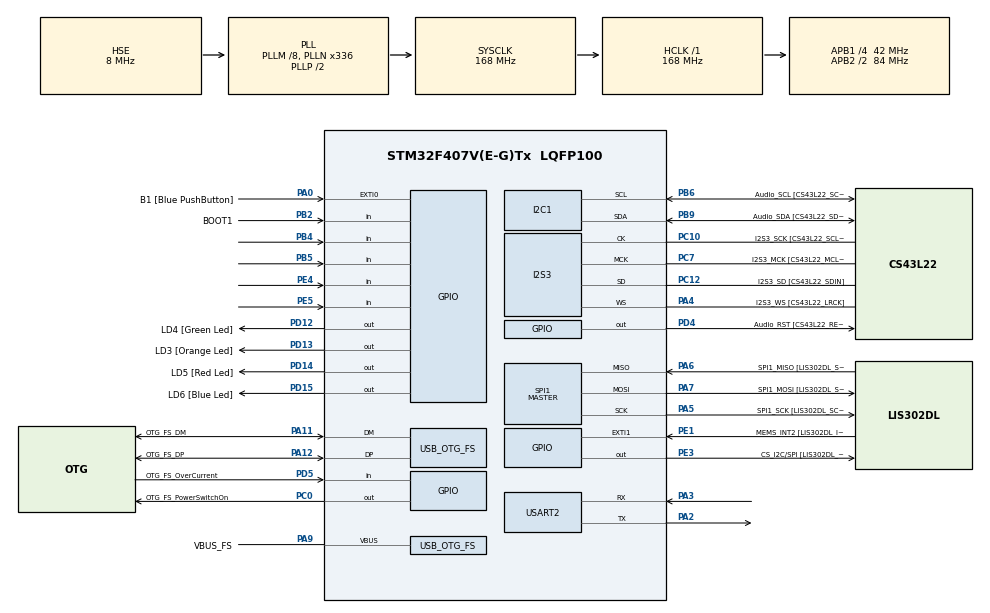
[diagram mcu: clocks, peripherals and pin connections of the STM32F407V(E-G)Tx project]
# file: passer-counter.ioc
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I2S3.AudioFreq-Half_Duplex_Master=I2S_AUDIOFREQ_96K
I2S3.ErrorAudioFreq=-2.34 %
I2S3.ErrorAudioFreq-Half_Duplex_Master=0.8 %
I2S3.FullDuplexMode=I2S_FULLDUPLEXMODE_DISABLE
I2S3.Instance=SPI$Index
I2S3.RealAudioFreq=93.75 KHz
I2S3.RealAudioFreq-Half_Duplex_Master=96.774 KHz
I2S3.VirtualMode=I2S_MODE_MASTER
Mcu.Family=STM32F4
Mcu.Name=STM32F407V(E-G)Tx
Mcu.Package=LQFP100
NVIC.OTG_FS_IRQn=true\:0\:0\:false\:false\:true\:true\:true
NVIC.PriorityGroup=NVIC_PRIORITYGROUP_4
PA0-WKUP.GPIO_Label=B1 [Blue PushButton]
PA0-WKUP.GPIO_ModeDefaultEXTI=GPIO_MODE_EVT_RISING
PA0-WKUP.GPIO_PuPd=GPIO_NOPULL
PA0-WKUP.Signal=GPXTI0
PA10.GPIO_Label=OTG_FS_ID
PA10.GPIO_Mode=GPIO_MODE_AF_PP
PA10.GPIO_PuPd=GPIO_NOPULL
PA10.GPIO_Speed=GPIO_SPEED_FREQ_LOW
PA10.Signal=USB_OTG_FS_ID
PA11.GPIO_Label=OTG_FS_DM
PA11.GPIO_Mode=GPIO_MODE_AF_PP
PA11.GPIO_PuPd=GPIO_NOPULL
PA11.GPIO_Speed=GPIO_SPEED_FREQ_LOW
PA11.Mode=Host_Only
PA11.Signal=USB_OTG_FS_DM
PA12.GPIO_Label=OTG_FS_DP
PA12.GPIO_Mode=GPIO_MODE_AF_PP
PA12.GPIO_PuPd=GPIO_NOPULL
PA12.GPIO_Speed=GPIO_SPEED_FREQ_LOW
PA12.Mode=Host_Only
PA12.Signal=USB_OTG_FS_DP
PA13.GPIO_Label=SWDIO
PA13.Mode=Serial_Wire
PA13.Signal=SYS_JTMS-SWDIO
PA14.GPIO_Label=SWCLK
PA14.Mode=Serial_Wire
PA14.Signal=SYS_JTCK-SWCLK
PA2.Mode=Asynchronous
PA2.Signal=USART2_TX
PA3.Mode=Asynchronous
PA3.Signal=USART2_RX
PA4.GPIO_Label=I2S3_WS [CS43L22_LRCK]
PA4.GPIO_Mode=GPIO_MODE_AF_PP
PA4.GPIO_PuPd=GPIO_NOPULL
PA4.GPIO_Speed=GPIO_SPEED_FREQ_LOW
PA4.Mode=Half_Duplex_Master
PA4.Signal=I2S3_WS
PA5.GPIO_Label=SPI1_SCK [LIS302DL_SCL/SPC]
PA5.GPIO_Mode=GPIO_MODE_AF_PP
PA5.GPIO_PuPd=GPIO_NOPULL
PA5.GPIO_Speed=GPIO_SPEED_FREQ_LOW
PA5.Mode=Full_Duplex_Master
PA5.Signal=SPI1_SCK
PA6.GPIO_Label=SPI1_MISO [LIS302DL_SDO]
PA6.GPIO_Mode=GPIO_MODE_AF_PP
PA6.GPIO_PuPd=GPIO_NOPULL
PA6.GPIO_Speed=GPIO_SPEED_FREQ_LOW
PA6.Mode=Full_Duplex_Master
PA6.Signal=SPI1_MISO
PA7.GPIO_Label=SPI1_MOSI [LIS302DL_SDA/SDI/SDO]
PA7.GPIO_Mode=GPIO_MODE_AF_PP
PA7.GPIO_PuPd=GPIO_NOPULL
PA7.GPIO_Speed=GPIO_SPEED_FREQ_LOW
PA7.Mode=Full_Duplex_Master
PA7.Signal=SPI1_MOSI
PA9.GPIO_Label=VBUS_FS
PA9.GPIO_Mode=GPIO_MODE_INPUT
PA9.GPIO_PuPd=GPIO_NOPULL
PA9.Mode=Activate_VBUS
PA9.Signal=USB_OTG_FS_VBUS
PB10.GPIO_Label=CLK_IN [MP45DT02_CLK]
PB10.GPIO_Mode=GPIO_MODE_AF_PP
PB10.GPIO_PuPd=GPIO_NOPULL
PB10.GPIO_Speed=GPIO_SPEED_FREQ_LOW
PB10.Signal=I2S2_CK
PB2.GPIO_Label=BOOT1
PB2.GPIO_Mode=GPIO_MODE_INPUT
PB2.GPIO_PuPd=GPIO_NOPULL
PB2.Signal=GPIO_Input
PB3.GPIO_Label=SWO
PB3.Signal=SYS_JTDO-SWO
PB4.Signal=GPIO_Input
PB5.Signal=GPIO_Input
PB6.GPIO_Label=Audio_SCL [CS43L22_SCL]
PB6.GPIO_Mode=GPIO_MODE_AF_OD
PB6.GPIO_PuPd=GPIO_NOPULL
PB6.GPIO_Speed=GPIO_SPEED_FREQ_LOW
PB6.Mode=I2C
PB6.Signal=I2C1_SCL
PB9.GPIO_Label=Audio_SDA [CS43L22_SDA]
PB9.GPIO_Mode=GPIO_MODE_AF_OD
PB9.GPIO_PuPd=GPIO_NOPULL
PB9.GPIO_Speed=GPIO_SPEED_FREQ_LOW
PB9.Mode=I2C
PB9.Signal=I2C1_SDA
PC0.GPIO_Label=OTG_FS_PowerSwitchOn
PC0.GPIO_PuPd=GPIO_NOPULL
PC0.GPIO_Speed=GPIO_SPEED_FREQ_LOW
PC0.PinState=GPIO_PIN_SET
PC0.Signal=GPIO_Output
PC10.GPIO_Label=I2S3_SCK [CS43L22_SCLK]
PC10.GPIO_Mode=GPIO_MODE_AF_PP
PC10.GPIO_PuPd=GPIO_NOPULL
PC10.GPIO_Speed=GPIO_SPEED_FREQ_LOW
PC10.Mode=Half_Duplex_Master
PC10.Signal=I2S3_CK
PC12.GPIO_Label=I2S3_SD [CS43L22_SDIN]
PC12.GPIO_Mode=GPIO_MODE_AF_PP
PC12.GPIO_PuPd=GPIO_NOPULL
PC12.GPIO_Speed=GPIO_SPEED_FREQ_LOW
PC12.Mode=Half_Duplex_Master
PC12.Signal=I2S3_SD
PC14-OSC32_IN.GPIO_Label=PC14-OSC32_IN
PC14-OSC32_IN.Mode=LSE-External-Oscillator
PC14-OSC32_IN.Signal=RCC_OSC32_IN
PC15-OSC32_OUT.GPIO_Label=PC15-OSC32_OUT
PC15-OSC32_OUT.Mode=LSE-External-Oscillator
PC15-OSC32_OUT.Signal=RCC_OSC32_OUT
PC3.GPIO_Label=PDM_OUT [MP45DT02_DOUT]
PC3.GPIO_Mode=GPIO_MODE_AF_PP
PC3.GPIO_PuPd=GPIO_NOPULL
PC3.GPIO_Speed=GPIO_SPEED_FREQ_LOW
PC3.Signal=I2S2_SD
PC7.GPIO_Label=I2S3_MCK [CS43L22_MCLK]
PC7.GPIO_Mode=GPIO_MODE_AF_PP
PC7.GPIO_PuPd=GPIO_NOPULL
PC7.GPIO_Speed=GPIO_SPEED_FREQ_LOW
PC7.Mode=Master_Clock_Activated
PC7.Signal=I2S3_MCK
PD12.GPIO_Label=LD4 [Green Led]
PD12.GPIO_PuPd=GPIO_NOPULL
PD12.GPIO_Speed=GPIO_SPEED_FREQ_LOW
PD12.Signal=GPIO_Output
PD13.GPIO_Label=LD3 [Orange Led]
PD13.GPIO_PuPd=GPIO_NOPULL
PD13.GPIO_Speed=GPIO_SPEED_FREQ_LOW
PD13.Signal=GPIO_Output
PD14.GPIO_Label=LD5 [Red Led]
PD14.GPIO_PuPd=GPIO_NOPULL
PD14.GPIO_Speed=GPIO_SPEED_FREQ_LOW
PD14.Signal=GPIO_Output
PD15.GPIO_Label=LD6 [Blue Led]
PD15.GPIO_PuPd=GPIO_NOPULL
PD15.GPIO_Speed=GPIO_SPEED_FREQ_LOW
PD15.Signal=GPIO_Output
PD4.GPIO_Label=Audio_RST [CS43L22_RESET]
PD4.GPIO_PuPd=GPIO_NOPULL
PD4.GPIO_Speed=GPIO_SPEED_FREQ_LOW
PD4.Signal=GPIO_Output
PD5.GPIO_Label=OTG_FS_OverCurrent
PD5.GPIO_Mode=GPIO_MODE_INPUT
PD5.GPIO_PuPd=GPIO_NOPULL
PD5.Signal=GPIO_Input
PE1.GPIO_Label=MEMS_INT2 [LIS302DL_INT2]
PE1.GPIO_ModeDefaultEXTI=GPIO_MODE_EVT_RISING
PE1.GPIO_PuPd=GPIO_NOPULL
PE1.Signal=GPXTI1
PE3.GPIO_Label=CS_I2C/SPI [LIS302DL_CS_I2C/SPI]
PE3.GPIO_PuPd=GPIO_NOPULL
PE3.GPIO_Speed=GPIO_SPEED_FREQ_LOW
PE3.Signal=GPIO_Output
PE4.GPIO_PuPd=GPIO_NOPULL
PE4.Signal=GPIO_Input
PE5.GPIO_PuPd=GPIO_NOPULL
PE5.Signal=GPIO_Input
PH0-OSC_IN.GPIO_Label=PH0-OSC_IN
PH0-OSC_IN.Mode=HSE-External-Oscillator
PH0-OSC_IN.Signal=RCC_OSC_IN
PH1-OSC_OUT.GPIO_Label=PH1-OSC_OUT
PH1-OSC_OUT.Mode=HSE-External-Oscillator
PH1-OSC_OUT.Signal=RCC_OSC_OUT
ProjectManager.HeapSize=0x200
ProjectManager.StackSize=0x400
ProjectManager.TargetToolchain=STM32CubeIDE
RCC.48MHZClocksFreq_Value=48000000
RCC.AHBFreq_Value=168000000
RCC.APB1CLKDivider=RCC_HCLK_DIV4
RCC.APB1Freq_Value=42000000
RCC.APB1TimFreq_Value=84000000
RCC.APB2CLKDivider=RCC_HCLK_DIV2
RCC.APB2Freq_Value=84000000
RCC.APB2TimFreq_Value=168000000
RCC.CortexFreq_Value=168000000
RCC.HCLKFreq_Value=168000000
RCC.HSE_VALUE=8000000
RCC.HSI_VALUE=16000000
RCC.PLLM=8
RCC.PLLN=336
RCC.PLLQ=7
RCC.SYSCLKFreq_VALUE=168000000
RCC.SYSCLKSource=RCC_SYSCLKSOURCE_PLLCLK
RCC.VCOOutputFreq_Value=336000000
SPI1.BaudRatePrescaler-Full_Duplex_Master=SPI_BAUDRATEPRESCALER_2
SPI1.CalculateBaudRate-Full_Duplex_Master=42.0 MBits/s
SPI1.Direction=SPI_DIRECTION_2LINES
SPI1.Mode=SPI_MODE_MASTER
SPI1.Mode-Full_Duplex_Master=SPI_MODE_MASTER
SPI1.VirtualType=VM_MASTER
USART2.VirtualMode=VM_ASYNC
USB_HOST.BSP.number=1
USB_HOST.USBH_HandleTypeDef-CDC_FS=hUsbHostFS
USB_HOST.USBH_USE_OS-CDC_FS=0
USB_HOST.VirtualModeFS=Cdc
USB_HOST0.BSP.STBoard=false
USB_HOST0.BSP.api=Unknown
USB_HOST0.BSP.i2caddr=0
USB_HOST0.BSP.i2creg=0
USB_HOST0.BSP.instance=PC0
USB_HOST0.BSP.ip=GPIO
USB_HOST0.BSP.mode=Output
USB_HOST0.BSP.name=Drive_VBUS_FS
USB_HOST0.BSP.solution=PC0
USB_OTG_FS.VirtualMode=Host_Only
USB_OTG_FS.phy_itface=HCD_PHY_EMBEDDED
VP_USB_HOST_VS_USB_HOST_CDC_FS.Mode=CDC_FS
board=STM32F4DISCOVERY

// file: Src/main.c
/* USER CODE BEGIN Header */
/**
  ******************************************************************************
  * @file           : main.c
  * @brief          : Main program body
  ******************************************************************************
  * @attention
  *
  * <h2><center>&copy; Copyright (c) 2019 STMicroelectronics.
  * All rights reserved.</center></h2>
  *
  * This software component is licensed by ST under Ultimate Liberty license
  * SLA0044, the "License"; You may not use this file except in compliance with
  * the License. You may obtain a copy of the License at:
  *                             www.st.com/SLA0044
  *
  ******************************************************************************
  */
/* USER CODE END Header */

#include "main.h"
#include "usb_host.h"

/* USER CODE BEGIN Includes */
#include <stdio.h>
#include <string.h>
/* USER CODE END Includes */

I2C_HandleTypeDef hi2c1;

I2S_HandleTypeDef hi2s3;

SPI_HandleTypeDef hspi1;

UART_HandleTypeDef huart2;

void SystemClock_Config(void);
static void MX_GPIO_Init(void);
static void MX_I2C1_Init(void);
static void MX_I2S3_Init(void);
static void MX_SPI1_Init(void);
static void MX_USART2_UART_Init(void);
void MX_USB_HOST_Process(void);

/* USER CODE BEGIN 0 */
typedef struct{
	int id;
	int n;
}twoint;

//osMailQDef(mail_box, 16, twoint);
//osMailQId mail_box;
//
//void Transmit1(osSemaphoreId id)
//{
//	int threadID = 0; // threadID is 0 for one thread and 1 for another
////	char buffer[32];
//	twoint *mail;
//	while(1) {
//		mail = osMailAlloc(mail_box, osWaitForever);
//		mail->id = threadID;
//		// GPIO E1 in E2 out
//		if (HAL_GPIO_ReadPin(GPIOE, GPIO_PIN_4)){
////			osDelay(500);
////			if (HAL_GPIO_ReadPin(GPIOE, GPIO_PIN_5)){
//				mail->n = +10;
////			}
//		}
////		else if (HAL_GPIO_ReadPin(GPIOE, GPIO_PIN_5)){
////			osDelay(500);
////			if (HAL_GPIO_ReadPin(GPIOE, GPIO_PIN_4)){
////				mail->n = -1;
////			}
////		}
////		while(1){
////			if(!HAL_GPIO_ReadPin(GPIOE, GPIO_PIN_4) && !HAL_GPIO_ReadPin(GPIOE, GPIO_PIN_5))
////				break;
////			osDelay(500);
////		}
//		osMailPut(mail_box, mail);
//		osDelay(500);
//	}
//}
//void Transmit2(osSemaphoreId id)
//{
////	int threadID = 1; // threadID is 0 for one thread and 1 for another
////	int idx = 0;
////	char buffer[32];
//	twoint *mail;
//	while(1) {
////		mail = osMailAlloc(mail_box, osWaitForever);
////		mail->id = threadID;
////		mail->n = idx;
////		osMailPut(mail_box, mail);
////		idx++;
//		osDelay(1000);
//	}
//}
//void Recieve3(osSemaphoreId id)
//{
//	char buffer[32];
//	twoint *mail;
//	while(1)
//	{
//		osEvent evt = osMailGet(mail_box, osWaitForever);
//		if (evt.status == osEventMail) {
//			mail = evt.value.p;
//			sprintf(buffer, "TID: %d %d\r\n", mail->id, mail->n);
//			HAL_UART_Transmit(&huart2, buffer, strlen(buffer), 1000);
//			osMailFree(mail_box, mail);
//			osDelay(1000);
//		}
//	}
//}
/* USER CODE END 0 */

int main(void)
{

  /* MCU Configuration--------------------------------------------------------*/

  /* Reset of all peripherals, Initializes the Flash interface and the Systick. */
  HAL_Init();

  /* Configure the system clock */
  SystemClock_Config();

  /* Initialize all configured peripherals */
  MX_GPIO_Init();
  MX_I2C1_Init();
  MX_I2S3_Init();
  MX_SPI1_Init();
  MX_USB_HOST_Init();
  MX_USART2_UART_Init();

  /* Infinite loop */
  /* USER CODE BEGIN WHILE */
  int prev = 0;
  int prev2 =10;
  int cnt = 0;
  while (1)
  {
    /* USER CODE END WHILE */
    MX_USB_HOST_Process();

    /* USER CODE BEGIN 3 */
	if (!HAL_GPIO_ReadPin(GPIOE, GPIO_PIN_4) && !HAL_GPIO_ReadPin(GPIOE, GPIO_PIN_5)){
		  continue;
	}
	else if (!HAL_GPIO_ReadPin(GPIOE, GPIO_PIN_4)){
    	if (prev == 0){
    		prev = 4;
//        	char out[100];
//        	sprintf(out, "In Pin4 Prev is %d\r\n", prev);
//        	HAL_UART_Transmit(&huart2, out, strlen(out), 1000);
    	}
    	else if (prev == 4){
    		prev = 4;
    	}
    	else if (prev == 5){
    		prev = 45;
			char out[100];
//			cnt ++;
			sprintf(out, "1");
			HAL_UART_Transmit(&huart2, out, strlen(out), 1000);
    	}
    	else if (prev == 54){
    		prev = 54;
    	}
    }
	else if (!HAL_GPIO_ReadPin(GPIOE, GPIO_PIN_5)){
    	if (prev == 0){
    		prev = 5;
//        	char out[100];
//        	sprintf(out, "In Pin5 Prev is %d\r\n", prev);
//        	HAL_UART_Transmit(&huart2, out, strlen(out), 1000);
    	}
    	else if (prev == 5){
    		prev = 5;
    	}
    	else if (prev == 4){
    		prev = 45;
        	char out[100];
//        	cnt--;
        	sprintf(out, "0");
        	HAL_UART_Transmit(&huart2, out, strlen(out), 1000);
		}
    	else if (prev == 45){
    		prev = 45;
    	}
    }
	else if (HAL_GPIO_ReadPin(GPIOE, GPIO_PIN_4) && HAL_GPIO_ReadPin(GPIOE, GPIO_PIN_5)){
		if(prev == 45 || prev == 54)
			prev = 0;
	}

	if (!HAL_GPIO_ReadPin(GPIOB, GPIO_PIN_4) && !HAL_GPIO_ReadPin(GPIOB, GPIO_PIN_5)){
			  continue;
		}
		else if (!HAL_GPIO_ReadPin(GPIOB, GPIO_PIN_4)){
	    	if (prev2 == 10){
	    		prev2 = 14;
//	        	char out[100];
//	        	sprintf(out, "In Pin4 Prev2 is %d\r\n", prev2);
//	        	HAL_UART_Transmit(&huart2, out, strlen(out), 1000);
	    	}
	    	else if (prev2 == 14){
	    		prev2 = 14;
	    	}
	    	else if (prev2 == 15){
	    		prev2 = 145;
				char out[100];
//				cnt++;
				sprintf(out, "1");
				HAL_UART_Transmit(&huart2, out, strlen(out), 1000);
	    	}
	    	else if (prev2 == 154){
	    		prev2 = 154;
	    	}
	    }
		else if (!HAL_GPIO_ReadPin(GPIOB, GPIO_PIN_5)){
	    	if (prev2 == 10){
	    		prev2 = 15;
//	        	char out[100];
//	        	sprintf(out, "In Pin5 Prev2 is %d\r\n", prev2);
//	        	HAL_UART_Transmit(&huart2, out, strlen(out), 1000);
	    	}
	    	else if (prev2 == 15){
	    		prev2 = 15;
	    	}
	    	else if (prev2 == 14){
	    		prev2 = 145;
	        	char out[100];
//	        	cnt--;
	        	sprintf(out, "0");
	        	HAL_UART_Transmit(&huart2, out, strlen(out), 1000);
			}
	    	else if (prev2 == 145){
	    		prev2 = 145;
	    	}
	    }
		else if (HAL_GPIO_ReadPin(GPIOB, GPIO_PIN_4) && HAL_GPIO_ReadPin(GPIOB, GPIO_PIN_5)){
			if(prev2 == 145 || prev2 == 154)
				prev2 = 10;
		}
    HAL_Delay(100);
  }
  /* USER CODE END 3 */
}

void SystemClock_Config(void)
{
  RCC_OscInitTypeDef RCC_OscInitStruct = {0};
  RCC_ClkInitTypeDef RCC_ClkInitStruct = {0};
  RCC_PeriphCLKInitTypeDef PeriphClkInitStruct = {0};

  /** Configure the main internal regulator output voltage
  */
  __HAL_RCC_PWR_CLK_ENABLE();
  __HAL_PWR_VOLTAGESCALING_CONFIG(PWR_REGULATOR_VOLTAGE_SCALE1);
  /** Initializes the CPU, AHB and APB busses clocks
  */
  RCC_OscInitStruct.OscillatorType = RCC_OSCILLATORTYPE_HSE;
  RCC_OscInitStruct.HSEState = RCC_HSE_ON;
  RCC_OscInitStruct.PLL.PLLState = RCC_PLL_ON;
  RCC_OscInitStruct.PLL.PLLSource = RCC_PLLSOURCE_HSE;
  RCC_OscInitStruct.PLL.PLLM = 8;
  RCC_OscInitStruct.PLL.PLLN = 336;
  RCC_OscInitStruct.PLL.PLLP = RCC_PLLP_DIV2;
  RCC_OscInitStruct.PLL.PLLQ = 7;
  if (HAL_RCC_OscConfig(&RCC_OscInitStruct) != HAL_OK)
  {
    Error_Handler();
  }
  /** Initializes the CPU, AHB and APB busses clocks
  */
  RCC_ClkInitStruct.ClockType = RCC_CLOCKTYPE_HCLK|RCC_CLOCKTYPE_SYSCLK
                              |RCC_CLOCKTYPE_PCLK1|RCC_CLOCKTYPE_PCLK2;
  RCC_ClkInitStruct.SYSCLKSource = RCC_SYSCLKSOURCE_PLLCLK;
  RCC_ClkInitStruct.AHBCLKDivider = RCC_SYSCLK_DIV1;
  RCC_ClkInitStruct.APB1CLKDivider = RCC_HCLK_DIV4;
  RCC_ClkInitStruct.APB2CLKDivider = RCC_HCLK_DIV2;

  if (HAL_RCC_ClockConfig(&RCC_ClkInitStruct, FLASH_LATENCY_5) != HAL_OK)
  {
    Error_Handler();
  }
  PeriphClkInitStruct.PeriphClockSelection = RCC_PERIPHCLK_I2S;
  PeriphClkInitStruct.PLLI2S.PLLI2SN = 192;
  PeriphClkInitStruct.PLLI2S.PLLI2SR = 2;
  if (HAL_RCCEx_PeriphCLKConfig(&PeriphClkInitStruct) != HAL_OK)
  {
    Error_Handler();
  }
}

static void MX_I2C1_Init(void)
{

  hi2c1.Instance = I2C1;
  hi2c1.Init.ClockSpeed = 100000;
  hi2c1.Init.DutyCycle = I2C_DUTYCYCLE_2;
  hi2c1.Init.OwnAddress1 = 0;
  hi2c1.Init.AddressingMode = I2C_ADDRESSINGMODE_7BIT;
  hi2c1.Init.DualAddressMode = I2C_DUALADDRESS_DISABLE;
  hi2c1.Init.OwnAddress2 = 0;
  hi2c1.Init.GeneralCallMode = I2C_GENERALCALL_DISABLE;
  hi2c1.Init.NoStretchMode = I2C_NOSTRETCH_DISABLE;
  if (HAL_I2C_Init(&hi2c1) != HAL_OK)
  {
    Error_Handler();
  }

}

static void MX_I2S3_Init(void)
{

  hi2s3.Instance = SPI3;
  hi2s3.Init.Mode = I2S_MODE_MASTER_TX;
  hi2s3.Init.Standard = I2S_STANDARD_PHILIPS;
  hi2s3.Init.DataFormat = I2S_DATAFORMAT_16B;
  hi2s3.Init.MCLKOutput = I2S_MCLKOUTPUT_ENABLE;
  hi2s3.Init.AudioFreq = I2S_AUDIOFREQ_96K;
  hi2s3.Init.CPOL = I2S_CPOL_LOW;
  hi2s3.Init.ClockSource = I2S_CLOCK_PLL;
  hi2s3.Init.FullDuplexMode = I2S_FULLDUPLEXMODE_DISABLE;
  if (HAL_I2S_Init(&hi2s3) != HAL_OK)
  {
    Error_Handler();
  }

}

static void MX_SPI1_Init(void)
{

  /* SPI1 parameter configuration*/
  hspi1.Instance = SPI1;
  hspi1.Init.Mode = SPI_MODE_MASTER;
  hspi1.Init.Direction = SPI_DIRECTION_2LINES;
  hspi1.Init.DataSize = SPI_DATASIZE_8BIT;
  hspi1.Init.CLKPolarity = SPI_POLARITY_LOW;
  hspi1.Init.CLKPhase = SPI_PHASE_1EDGE;
  hspi1.Init.NSS = SPI_NSS_SOFT;
  hspi1.Init.BaudRatePrescaler = SPI_BAUDRATEPRESCALER_2;
  hspi1.Init.FirstBit = SPI_FIRSTBIT_MSB;
  hspi1.Init.TIMode = SPI_TIMODE_DISABLE;
  hspi1.Init.CRCCalculation = SPI_CRCCALCULATION_DISABLE;
  hspi1.Init.CRCPolynomial = 10;
  if (HAL_SPI_Init(&hspi1) != HAL_OK)
  {
    Error_Handler();
  }

}

static void MX_USART2_UART_Init(void)
{

  huart2.Instance = USART2;
  huart2.Init.BaudRate = 115200;
  huart2.Init.WordLength = UART_WORDLENGTH_8B;
  huart2.Init.StopBits = UART_STOPBITS_1;
  huart2.Init.Parity = UART_PARITY_NONE;
  huart2.Init.Mode = UART_MODE_TX_RX;
  huart2.Init.HwFlowCtl = UART_HWCONTROL_NONE;
  huart2.Init.OverSampling = UART_OVERSAMPLING_16;
  if (HAL_UART_Init(&huart2) != HAL_OK)
  {
    Error_Handler();
  }

}

static void MX_GPIO_Init(void)
{
  GPIO_InitTypeDef GPIO_InitStruct = {0};

  /* GPIO Ports Clock Enable */
  __HAL_RCC_GPIOE_CLK_ENABLE();
  __HAL_RCC_GPIOC_CLK_ENABLE();
  __HAL_RCC_GPIOH_CLK_ENABLE();
  __HAL_RCC_GPIOA_CLK_ENABLE();
  __HAL_RCC_GPIOB_CLK_ENABLE();
  __HAL_RCC_GPIOD_CLK_ENABLE();

  /*Configure GPIO pin Output Level */
  HAL_GPIO_WritePin(CS_I2C_SPI_GPIO_Port, CS_I2C_SPI_Pin, GPIO_PIN_RESET);

  /*Configure GPIO pin Output Level */
  HAL_GPIO_WritePin(OTG_FS_PowerSwitchOn_GPIO_Port, OTG_FS_PowerSwitchOn_Pin, GPIO_PIN_SET);

  /*Configure GPIO pin Output Level */
  HAL_GPIO_WritePin(GPIOD, LD4_Pin|LD3_Pin|LD5_Pin|LD6_Pin
                          |Audio_RST_Pin, GPIO_PIN_RESET);

  /*Configure GPIO pin : CS_I2C_SPI_Pin */
  GPIO_InitStruct.Pin = CS_I2C_SPI_Pin;
  GPIO_InitStruct.Mode = GPIO_MODE_OUTPUT_PP;
  GPIO_InitStruct.Pull = GPIO_NOPULL;
  GPIO_InitStruct.Speed = GPIO_SPEED_FREQ_LOW;
  HAL_GPIO_Init(CS_I2C_SPI_GPIO_Port, &GPIO_InitStruct);

  /*Configure GPIO pins : PE4 PE5 */
  GPIO_InitStruct.Pin = GPIO_PIN_4|GPIO_PIN_5;
  GPIO_InitStruct.Mode = GPIO_MODE_INPUT;
  GPIO_InitStruct.Pull = GPIO_NOPULL;
  HAL_GPIO_Init(GPIOE, &GPIO_InitStruct);

  /*Configure GPIO pin : OTG_FS_PowerSwitchOn_Pin */
  GPIO_InitStruct.Pin = OTG_FS_PowerSwitchOn_Pin;
  GPIO_InitStruct.Mode = GPIO_MODE_OUTPUT_PP;
  GPIO_InitStruct.Pull = GPIO_NOPULL;
  GPIO_InitStruct.Speed = GPIO_SPEED_FREQ_LOW;
  HAL_GPIO_Init(OTG_FS_PowerSwitchOn_GPIO_Port, &GPIO_InitStruct);

  /*Configure GPIO pin : PDM_OUT_Pin */
  GPIO_InitStruct.Pin = PDM_OUT_Pin;
  GPIO_InitStruct.Mode = GPIO_MODE_AF_PP;
  GPIO_InitStruct.Pull = GPIO_NOPULL;
  GPIO_InitStruct.Speed = GPIO_SPEED_FREQ_LOW;
  GPIO_InitStruct.Alternate = GPIO_AF5_SPI2;
  HAL_GPIO_Init(PDM_OUT_GPIO_Port, &GPIO_InitStruct);

  /*Configure GPIO pin : B1_Pin */
  GPIO_InitStruct.Pin = B1_Pin;
  GPIO_InitStruct.Mode = GPIO_MODE_EVT_RISING;
  GPIO_InitStruct.Pull = GPIO_NOPULL;
  HAL_GPIO_Init(B1_GPIO_Port, &GPIO_InitStruct);

  /*Configure GPIO pins : BOOT1_Pin PB4 PB5 */
  GPIO_InitStruct.Pin = BOOT1_Pin|GPIO_PIN_4|GPIO_PIN_5;
  GPIO_InitStruct.Mode = GPIO_MODE_INPUT;
  GPIO_InitStruct.Pull = GPIO_NOPULL;
  HAL_GPIO_Init(GPIOB, &GPIO_InitStruct);

  /*Configure GPIO pin : CLK_IN_Pin */
  GPIO_InitStruct.Pin = CLK_IN_Pin;
  GPIO_InitStruct.Mode = GPIO_MODE_AF_PP;
  GPIO_InitStruct.Pull = GPIO_NOPULL;
  GPIO_InitStruct.Speed = GPIO_SPEED_FREQ_LOW;
  GPIO_InitStruct.Alternate = GPIO_AF5_SPI2;
  HAL_GPIO_Init(CLK_IN_GPIO_Port, &GPIO_InitStruct);

  /*Configure GPIO pins : LD4_Pin LD3_Pin LD5_Pin LD6_Pin
                           Audio_RST_Pin */
  GPIO_InitStruct.Pin = LD4_Pin|LD3_Pin|LD5_Pin|LD6_Pin
                          |Audio_RST_Pin;
  GPIO_InitStruct.Mode = GPIO_MODE_OUTPUT_PP;
  GPIO_InitStruct.Pull = GPIO_NOPULL;
  GPIO_InitStruct.Speed = GPIO_SPEED_FREQ_LOW;
  HAL_GPIO_Init(GPIOD, &GPIO_InitStruct);

  /*Configure GPIO pin : OTG_FS_OverCurrent_Pin */
  GPIO_InitStruct.Pin = OTG_FS_OverCurrent_Pin;
  GPIO_InitStruct.Mode = GPIO_MODE_INPUT;
  GPIO_InitStruct.Pull = GPIO_NOPULL;
  HAL_GPIO_Init(OTG_FS_OverCurrent_GPIO_Port, &GPIO_InitStruct);

  /*Configure GPIO pin : MEMS_INT2_Pin */
  GPIO_InitStruct.Pin = MEMS_INT2_Pin;
  GPIO_InitStruct.Mode = GPIO_MODE_EVT_RISING;
  GPIO_InitStruct.Pull = GPIO_NOPULL;
  HAL_GPIO_Init(MEMS_INT2_GPIO_Port, &GPIO_InitStruct);

}

void Error_Handler(void)
{
}

/************************ (C) COPYRIGHT STMicroelectronics *****END OF FILE****/
